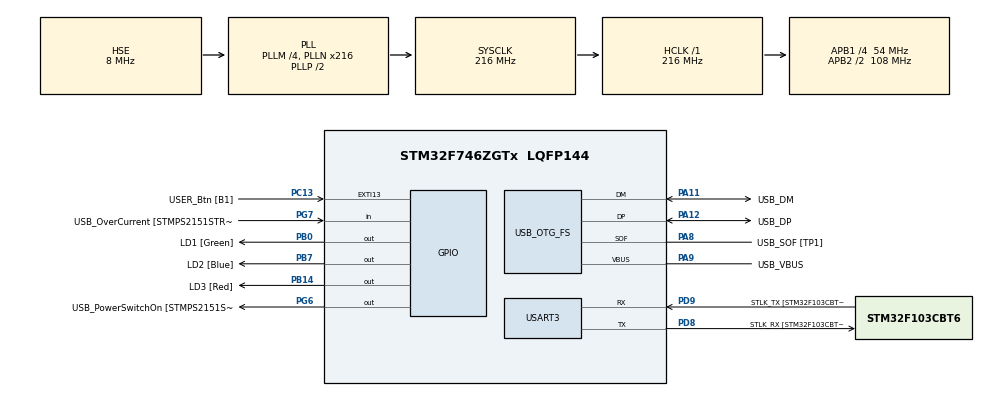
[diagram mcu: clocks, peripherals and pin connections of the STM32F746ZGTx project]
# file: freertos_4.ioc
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FREERTOS.Tasks01=defaultTask,24,128,StartDefaultTask,Default,NULL,Dynamic,NULL,NULL
Mcu.Family=STM32F7
Mcu.Name=STM32F746ZGTx
Mcu.Package=LQFP144
NVIC.PriorityGroup=NVIC_PRIORITYGROUP_4
NVIC.TIM1_UP_TIM10_IRQn=true\:0\:0\:false\:false\:true\:false\:false\:true
NVIC.TimeBase=TIM1_UP_TIM10_IRQn
NVIC.TimeBaseIP=TIM1
PA1.GPIO_Label=RMII_REF_CLK [LAN8742A-CZ-TR_REFCLK0]
PA1.Signal=ETH_REF_CLK
PA10.GPIO_Label=USB_ID
PA10.Signal=USB_OTG_FS_ID
PA11.GPIO_Label=USB_DM
PA11.Mode=Device_Only
PA11.Signal=USB_OTG_FS_DM
PA12.GPIO_Label=USB_DP
PA12.Mode=Device_Only
PA12.Signal=USB_OTG_FS_DP
PA13.GPIO_Label=TMS
PA13.Mode=Serial_Wire
PA13.Signal=SYS_JTMS-SWDIO
PA14.GPIO_Label=TCK
PA14.Mode=Serial_Wire
PA14.Signal=SYS_JTCK-SWCLK
PA2.GPIO_Label=RMII_MDIO [LAN8742A-CZ-TR_MDIO]
PA2.Signal=ETH_MDIO
PA7.GPIO_Label=RMII_CRS_DV [LAN8742A-CZ-TR_CRS_DV]
PA7.Signal=ETH_CRS_DV
PA8.GPIO_Label=USB_SOF [TP1]
PA8.Mode=Activate_SOF_FS
PA8.Signal=USB_OTG_FS_SOF
PA9.GPIO_Label=USB_VBUS
PA9.Mode=Activate_VBUS
PA9.Signal=USB_OTG_FS_VBUS
PB0.GPIO_Label=LD1 [Green]
PB0.Signal=GPIO_Output
PB13.GPIO_Label=RMII_TXD1 [LAN8742A-CZ-TR_TXD1]
PB13.Signal=ETH_TXD1
PB14.GPIO_Label=LD3 [Red]
PB14.Signal=GPIO_Output
PB3.GPIO_Label=SW0
PB3.Signal=SYS_JTDO-SWO
PB7.GPIO_Label=LD2 [Blue]
PB7.Signal=GPIO_Output
PC1.GPIO_Label=RMII_MDC [LAN8742A-CZ-TR_MDC]
PC1.Signal=ETH_MDC
PC13.GPIO_Label=USER_Btn [B1]
PC13.Signal=GPXTI13
PC14/OSC32_IN.Mode=LSE-External-Oscillator
PC14/OSC32_IN.Signal=RCC_OSC32_IN
PC15/OSC32_OUT.Mode=LSE-External-Oscillator
PC15/OSC32_OUT.Signal=RCC_OSC32_OUT
PC4.GPIO_Label=RMII_RXD0 [LAN8742A-CZ-TR_RXD0]
PC4.Signal=ETH_RXD0
PC5.GPIO_Label=RMII_RXD1 [LAN8742A-CZ-TR_RXD1]
PC5.Signal=ETH_RXD1
PD8.GPIO_Label=STLK_RX [STM32F103CBT6_PA3]
PD8.Mode=Asynchronous
PD8.Signal=USART3_TX
PD9.GPIO_Label=STLK_TX [STM32F103CBT6_PA2]
PD9.Mode=Asynchronous
PD9.Signal=USART3_RX
PG11.GPIO_Label=RMII_TX_EN [LAN8742A-CZ-TR_TXEN]
PG11.Signal=ETH_TX_EN
PG13.GPIO_Label=RMII_TXD0 [LAN8742A-CZ-TR_TXD0]
PG13.Signal=ETH_TXD0
PG6.GPIO_Label=USB_PowerSwitchOn [STMPS2151STR_EN]
PG6.Signal=GPIO_Output
PG7.GPIO_Label=USB_OverCurrent [STMPS2151STR_FAULT]
PG7.Signal=GPIO_Input
PH0/OSC_IN.GPIO_Label=MCO [STM32F103CBT6_PA8]
PH0/OSC_IN.Mode=HSE-External-Clock-Source
PH0/OSC_IN.Signal=RCC_OSC_IN
PH1/OSC_OUT.Mode=HSE-External-Clock-Source
PH1/OSC_OUT.Signal=RCC_OSC_OUT
ProjectManager.HeapSize=0x200
ProjectManager.StackSize=0x400
ProjectManager.TargetToolchain=STM32CubeIDE
RCC.48MHZClocksFreq_Value=24000000
RCC.AHBFreq_Value=216000000
RCC.APB1CLKDivider=RCC_HCLK_DIV4
RCC.APB1Freq_Value=54000000
RCC.APB1TimFreq_Value=108000000
RCC.APB2CLKDivider=RCC_HCLK_DIV2
RCC.APB2Freq_Value=108000000
RCC.APB2TimFreq_Value=216000000
RCC.CortexFreq_Value=216000000
RCC.HCLKFreq_Value=216000000
RCC.HSE_VALUE=8000000
RCC.HSI_VALUE=16000000
RCC.PLLM=4
RCC.PLLMUL=RCC_PLL_MUL9
RCC.PLLN=216
RCC.PLLQ=9
RCC.PRESCALERUSB=RCC_USBCLKSOURCE_PLL_DIV1_5
RCC.SYSCLKFreq_VALUE=216000000
RCC.SYSCLKSource=RCC_SYSCLKSOURCE_PLLCLK
RCC.SYSCLKSourceVirtual=RCC_SYSCLKSOURCE_PLLCLK
RCC.USBFreq_Value=48000000
RCC.VCOOutputFreq_Value=432000000
USART3.VirtualMode-Asynchronous=VM_ASYNC
USB_OTG_FS.VirtualMode=Device_Only
VP_FREERTOS_VS_CMSIS_V2.Mode=CMSIS_V2
VP_SYS_VS_tim1.Mode=TIM1
board=NUCLEO-F746ZG

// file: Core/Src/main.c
/* USER CODE BEGIN Header */
/**
  ******************************************************************************
  * @file           : main.c
  * @brief          : Main program body
  ******************************************************************************
  * @attention
  *
  * <h2><center>&copy; Copyright (c) 2021 STMicroelectronics.
  * All rights reserved.</center></h2>
  *
  * This software component is licensed by ST under Ultimate Liberty license
  * SLA0044, the "License"; You may not use this file except in compliance with
  * the License. You may obtain a copy of the License at:
  *                             www.st.com/SLA0044
  *
  ******************************************************************************
  */
/* USER CODE END Header */
#include "main.h"
#include "cmsis_os.h"

/* USER CODE BEGIN Includes */
#include "queue.h"
/* USER CODE END Includes */

UART_HandleTypeDef huart3;

PCD_HandleTypeDef hpcd_USB_OTG_FS;

/* Definitions for defaultTask */
osThreadId_t defaultTaskHandle;
const osThreadAttr_t defaultTask_attributes = {
  .name = "defaultTask",
  .stack_size = 128 * 4,
  .priority = (osPriority_t) osPriorityNormal,
};

void SystemClock_Config(void);
static void MX_GPIO_Init(void);
static void MX_USART3_UART_Init(void);
static void MX_USB_OTG_FS_PCD_Init(void);
void StartDefaultTask(void *argument);
void vModifyTask(void *pvParameters);
void vCheckTask(void *pvParameters);
void vReceiverTask(void *pvParameters);
void vSenderTask(void *pvParameters);

/* USER CODE BEGIN 0 */
/* Номера функций-передатчиков сообщений */
#define mainSENDER_1 1
#define mainSENDER_2 2
/* Объявить переменную-дескриптор очереди. Эта переменная
* будет использоваться для ссылки на очередь после ее создания. */
xQueueHandle xQueue;
/* Определить структуру, которая будет элементом очереди */
typedef struct
{
unsigned char ucValue;
unsigned char ucSource;
} xData;
/* Определить массив из двух структур, которые будут
* записываться в очередь */
static const xData xStructsToSend[ 2 ] =
{
{ 100, mainSENDER_1 }, /* Используется задачей-передатчиком 1 */
{ 200, mainSENDER_2 } /* Используется задачей-передатчиком 2 */
};
/* USER CODE END 0 */

int main(void)
{

  /* MCU Configuration--------------------------------------------------------*/

  /* Reset of all peripherals, Initializes the Flash interface and the Systick. */
  HAL_Init();

  /* Configure the system clock */
  SystemClock_Config();

  /* Initialize all configured peripherals */
  MX_GPIO_Init();
  MX_USART3_UART_Init();
  MX_USB_OTG_FS_PCD_Init();

  /* Init scheduler */
  osKernelInitialize();

  /* Create the thread(s) */
  /* creation of defaultTask */
  defaultTaskHandle = osThreadNew(StartDefaultTask, NULL, &defaultTask_attributes);

  /* USER CODE BEGIN RTOS_THREADS */
  /* Создать очередь размером 3 элемента для хранения
  * структуры типа xData.
  * Размер элемента установлен равным размеру структуры xData.
  * Дескриптор созданной очереди сохранить в глобальной
  * переменной xQueue. */
  xQueue = xQueueCreate(3, sizeof(xData));
  /* Если очередь успешно создана (дескриптор не равен NULL) */
  if (xQueue != NULL) {
	  /* Создать 2 экземпляра задачи-передатчика. Параметр,
	  * передаваемый задаче при ее создании, указатель на структуру,
	  * которую экземпляр задачи-передатчика
	  * будет записывать в очередь.
	  * Задача-передатчик 1 будет постоянно записывать структуру
	  * xStructsToSend[ 0 ].
	  * Задача-передатчик 2 будет постоянно записывать структуру
	  * xStructsToSend[ 1 ].
	  * Обе задачи создаются с приоритетом 1.
	  */
	  xTaskCreate(vSenderTask, "Sender1", 1000, ( void * ) &(
	  xStructsToSend[ 0 ] ), 2, NULL);
	  xTaskCreate(vSenderTask, "Sender2", 1000, ( void * ) &(
	  xStructsToSend[ 1 ] ), 2, NULL);
	  /* Создать задачу-приемник, которая будет считывать числа
	  * из очереди.
	  * Приоритет = 2, то есть выше, чем у задач-передатчиков.
	  */
  	  xTaskCreate(vReceiverTask, "Receiver", 1000, NULL, 1, NULL);
	  /* USER CODE END RTOS_THREADS */

	  /* Start scheduler */
	  osKernelStart();
  }
  /* We should never get here as control is now taken by the scheduler */
  /* Infinite loop */
  while (1)
  {

  }
}

void SystemClock_Config(void)
{
  RCC_OscInitTypeDef RCC_OscInitStruct = {0};
  RCC_ClkInitTypeDef RCC_ClkInitStruct = {0};
  RCC_PeriphCLKInitTypeDef PeriphClkInitStruct = {0};

  /** Configure LSE Drive Capability
  */
  HAL_PWR_EnableBkUpAccess();
  /** Configure the main internal regulator output voltage
  */
  __HAL_RCC_PWR_CLK_ENABLE();
  __HAL_PWR_VOLTAGESCALING_CONFIG(PWR_REGULATOR_VOLTAGE_SCALE1);
  /** Initializes the RCC Oscillators according to the specified parameters
  * in the RCC_OscInitTypeDef structure.
  */
  RCC_OscInitStruct.OscillatorType = RCC_OSCILLATORTYPE_HSE;
  RCC_OscInitStruct.HSEState = RCC_HSE_BYPASS;
  RCC_OscInitStruct.PLL.PLLState = RCC_PLL_ON;
  RCC_OscInitStruct.PLL.PLLSource = RCC_PLLSOURCE_HSE;
  RCC_OscInitStruct.PLL.PLLM = 4;
  RCC_OscInitStruct.PLL.PLLN = 216;
  RCC_OscInitStruct.PLL.PLLP = RCC_PLLP_DIV2;
  RCC_OscInitStruct.PLL.PLLQ = 9;
  if (HAL_RCC_OscConfig(&RCC_OscInitStruct) != HAL_OK)
  {
    Error_Handler();
  }
  /** Activate the Over-Drive mode
  */
  if (HAL_PWREx_EnableOverDrive() != HAL_OK)
  {
    Error_Handler();
  }
  /** Initializes the CPU, AHB and APB buses clocks
  */
  RCC_ClkInitStruct.ClockType = RCC_CLOCKTYPE_HCLK|RCC_CLOCKTYPE_SYSCLK
                              |RCC_CLOCKTYPE_PCLK1|RCC_CLOCKTYPE_PCLK2;
  RCC_ClkInitStruct.SYSCLKSource = RCC_SYSCLKSOURCE_PLLCLK;
  RCC_ClkInitStruct.AHBCLKDivider = RCC_SYSCLK_DIV1;
  RCC_ClkInitStruct.APB1CLKDivider = RCC_HCLK_DIV4;
  RCC_ClkInitStruct.APB2CLKDivider = RCC_HCLK_DIV2;

  if (HAL_RCC_ClockConfig(&RCC_ClkInitStruct, FLASH_LATENCY_7) != HAL_OK)
  {
    Error_Handler();
  }
  PeriphClkInitStruct.PeriphClockSelection = RCC_PERIPHCLK_USART3|RCC_PERIPHCLK_CLK48;
  PeriphClkInitStruct.Usart3ClockSelection = RCC_USART3CLKSOURCE_PCLK1;
  PeriphClkInitStruct.Clk48ClockSelection = RCC_CLK48SOURCE_PLL;
  if (HAL_RCCEx_PeriphCLKConfig(&PeriphClkInitStruct) != HAL_OK)
  {
    Error_Handler();
  }
}

static void MX_USART3_UART_Init(void)
{

  huart3.Instance = USART3;
  huart3.Init.BaudRate = 115200;
  huart3.Init.WordLength = UART_WORDLENGTH_8B;
  huart3.Init.StopBits = UART_STOPBITS_1;
  huart3.Init.Parity = UART_PARITY_NONE;
  huart3.Init.Mode = UART_MODE_TX_RX;
  huart3.Init.HwFlowCtl = UART_HWCONTROL_NONE;
  huart3.Init.OverSampling = UART_OVERSAMPLING_16;
  huart3.Init.OneBitSampling = UART_ONE_BIT_SAMPLE_DISABLE;
  huart3.AdvancedInit.AdvFeatureInit = UART_ADVFEATURE_NO_INIT;
  if (HAL_UART_Init(&huart3) != HAL_OK)
  {
    Error_Handler();
  }

}

static void MX_USB_OTG_FS_PCD_Init(void)
{

  hpcd_USB_OTG_FS.Instance = USB_OTG_FS;
  hpcd_USB_OTG_FS.Init.dev_endpoints = 6;
  hpcd_USB_OTG_FS.Init.speed = PCD_SPEED_FULL;
  hpcd_USB_OTG_FS.Init.dma_enable = DISABLE;
  hpcd_USB_OTG_FS.Init.phy_itface = PCD_PHY_EMBEDDED;
  hpcd_USB_OTG_FS.Init.Sof_enable = ENABLE;
  hpcd_USB_OTG_FS.Init.low_power_enable = DISABLE;
  hpcd_USB_OTG_FS.Init.lpm_enable = DISABLE;
  hpcd_USB_OTG_FS.Init.vbus_sensing_enable = ENABLE;
  hpcd_USB_OTG_FS.Init.use_dedicated_ep1 = DISABLE;
  if (HAL_PCD_Init(&hpcd_USB_OTG_FS) != HAL_OK)
  {
    Error_Handler();
  }

}

static void MX_GPIO_Init(void)
{
  GPIO_InitTypeDef GPIO_InitStruct = {0};

  /* GPIO Ports Clock Enable */
  __HAL_RCC_GPIOC_CLK_ENABLE();
  __HAL_RCC_GPIOH_CLK_ENABLE();
  __HAL_RCC_GPIOA_CLK_ENABLE();
  __HAL_RCC_GPIOB_CLK_ENABLE();
  __HAL_RCC_GPIOD_CLK_ENABLE();
  __HAL_RCC_GPIOG_CLK_ENABLE();

  /*Configure GPIO pin Output Level */
  HAL_GPIO_WritePin(GPIOB, LD1_Pin|LD3_Pin|LD2_Pin, GPIO_PIN_RESET);

  /*Configure GPIO pin Output Level */
  HAL_GPIO_WritePin(USB_PowerSwitchOn_GPIO_Port, USB_PowerSwitchOn_Pin, GPIO_PIN_RESET);

  /*Configure GPIO pin : USER_Btn_Pin */
  GPIO_InitStruct.Pin = USER_Btn_Pin;
  GPIO_InitStruct.Mode = GPIO_MODE_IT_RISING;
  GPIO_InitStruct.Pull = GPIO_NOPULL;
  HAL_GPIO_Init(USER_Btn_GPIO_Port, &GPIO_InitStruct);

  /*Configure GPIO pins : RMII_MDC_Pin RMII_RXD0_Pin RMII_RXD1_Pin */
  GPIO_InitStruct.Pin = RMII_MDC_Pin|RMII_RXD0_Pin|RMII_RXD1_Pin;
  GPIO_InitStruct.Mode = GPIO_MODE_AF_PP;
  GPIO_InitStruct.Pull = GPIO_NOPULL;
  GPIO_InitStruct.Speed = GPIO_SPEED_FREQ_VERY_HIGH;
  GPIO_InitStruct.Alternate = GPIO_AF11_ETH;
  HAL_GPIO_Init(GPIOC, &GPIO_InitStruct);

  /*Configure GPIO pins : RMII_REF_CLK_Pin RMII_MDIO_Pin RMII_CRS_DV_Pin */
  GPIO_InitStruct.Pin = RMII_REF_CLK_Pin|RMII_MDIO_Pin|RMII_CRS_DV_Pin;
  GPIO_InitStruct.Mode = GPIO_MODE_AF_PP;
  GPIO_InitStruct.Pull = GPIO_NOPULL;
  GPIO_InitStruct.Speed = GPIO_SPEED_FREQ_VERY_HIGH;
  GPIO_InitStruct.Alternate = GPIO_AF11_ETH;
  HAL_GPIO_Init(GPIOA, &GPIO_InitStruct);

  /*Configure GPIO pins : LD1_Pin LD3_Pin LD2_Pin */
  GPIO_InitStruct.Pin = LD1_Pin|LD3_Pin|LD2_Pin;
  GPIO_InitStruct.Mode = GPIO_MODE_OUTPUT_PP;
  GPIO_InitStruct.Pull = GPIO_NOPULL;
  GPIO_InitStruct.Speed = GPIO_SPEED_FREQ_LOW;
  HAL_GPIO_Init(GPIOB, &GPIO_InitStruct);

  /*Configure GPIO pin : RMII_TXD1_Pin */
  GPIO_InitStruct.Pin = RMII_TXD1_Pin;
  GPIO_InitStruct.Mode = GPIO_MODE_AF_PP;
  GPIO_InitStruct.Pull = GPIO_NOPULL;
  GPIO_InitStruct.Speed = GPIO_SPEED_FREQ_VERY_HIGH;
  GPIO_InitStruct.Alternate = GPIO_AF11_ETH;
  HAL_GPIO_Init(RMII_TXD1_GPIO_Port, &GPIO_InitStruct);

  /*Configure GPIO pin : USB_PowerSwitchOn_Pin */
  GPIO_InitStruct.Pin = USB_PowerSwitchOn_Pin;
  GPIO_InitStruct.Mode = GPIO_MODE_OUTPUT_PP;
  GPIO_InitStruct.Pull = GPIO_NOPULL;
  GPIO_InitStruct.Speed = GPIO_SPEED_FREQ_LOW;
  HAL_GPIO_Init(USB_PowerSwitchOn_GPIO_Port, &GPIO_InitStruct);

  /*Configure GPIO pin : USB_OverCurrent_Pin */
  GPIO_InitStruct.Pin = USB_OverCurrent_Pin;
  GPIO_InitStruct.Mode = GPIO_MODE_INPUT;
  GPIO_InitStruct.Pull = GPIO_NOPULL;
  HAL_GPIO_Init(USB_OverCurrent_GPIO_Port, &GPIO_InitStruct);

  /*Configure GPIO pins : RMII_TX_EN_Pin RMII_TXD0_Pin */
  GPIO_InitStruct.Pin = RMII_TX_EN_Pin|RMII_TXD0_Pin;
  GPIO_InitStruct.Mode = GPIO_MODE_AF_PP;
  GPIO_InitStruct.Pull = GPIO_NOPULL;
  GPIO_InitStruct.Speed = GPIO_SPEED_FREQ_VERY_HIGH;
  GPIO_InitStruct.Alternate = GPIO_AF11_ETH;
  HAL_GPIO_Init(GPIOG, &GPIO_InitStruct);

}

/* USER CODE BEGIN 4 */
/*-----------------------------------------------------------*/
/* Функция, реализующая задачи-передатчики */
void vSenderTask(void *pvParameters) {
	/* Будет создано несколько экземпляров задачи. В качестве
	* параметра задаче будет передан указатель на структуру xData. */
	/* Переменная, которая будет хранить результат выполнения
	* xQueueSendToBack(): */
	portBASE_TYPE xStatus;
	/* Бесконечный цикл */
	for (;;) {
		/* Записать структуру в конец очереди.
		* 1-й параметр — дескриптор очереди, в которую будет
		* производиться запись, очередь создана до запуска
		* планировщика, и ее дескриптор сохранен в глобальной
		* переменной xQueue.
		* 2-й параметр — указатель на структуру, которая будет
		* записана в очередь, в данном случае указатель передается
		* при создании экземпляра задачи (pvParameters).
		* 3-й параметр — продолжительность тайм-аута, в течение
		* которого задача будет находиться в блокированном
		* состоянии, ожидая появления свободного места в очереди.
		* Макроопределение portTICK_RATE_MS используется для
		* преобразования времени 100 мс в количество системных
		* квантов. */
		xStatus = xQueueSendToBack(xQueue, pvParameters, 100 /
		portTICK_RATE_MS);
		if (xStatus != pdPASS) {
			/* Запись в очередь не произошла по причине того, что
			* очередь на протяжении тайм-аута оставалась заполненной.
			* Такая ситуация свидетельствует об ошибке, так как
			* очередь-приемник создаст свободное место в очереди,
			* как только обе задачи-передатчика перейдут
			* в блокированное состояние */
			printf("Could not send to the queue.\r\n");
		}
		/* Сделать принудительный вызов планировщика, позволив,
		* таким образом, выполняться другой задаче-передатчику.
		* Переключение на другую задачу произойдет быстрее, чем
		* окончится текущий квант времени. */
		taskYIELD();
	}
}
/*------------------------------------------------------------------------*/
/* Функция, реализующая задачу-приемник */
void vReceiverTask(void *pvParameters) {
	/* Структура, в которую будет копироваться прочитанная из
	* очереди структура */
	xData xReceivedStructure;
	/* Переменная, которая будет хранить результат выполнения
	* xQueueReceive() */
	portBASE_TYPE xStatus;
	/* Бесконечный цикл */
	for (;;) {
		/* Эта задача выполняется, только когда задачи-передатчики
		* находятся в блокированном состоянии, а за счет того, что
		* приоритет у них выше, блокироваться они могут, только
		* если очередь полна. Поэтому очередь в этот момент должна
		* быть полна. То есть текущее количество элементов
		* очереди должно быть равно ее размеру — 3. */
		if (uxQueueMessagesWaiting(xQueue) != 3) {
			printf("Queue should have been full!\r\n");
		}
		/* Прочитать структуру из начала очереди.
		* 1-й параметр — дескриптор очереди, из которой будет
		* происходить чтение, очередь создана до запуска
		* планировщика, и ее дескриптор сохранен в глобальной
		* переменной xQueue.
		* 2-й параметр — указатель на буфер, в который будет
		* скопирована структура из очереди. В данном случае —
		* указатель на структуру xReceivedStructure.
		* 3-й параметр — продолжительность тайм-аута. В данном
		* случае задана равной 0, что означает задача не будет
		* “ожидать”, если очередь пуста. Однако так как эта задача
		* получает управление, только если очередь полна, то чтение
		* элемента из нее будет всегда возможно.
		*/
		xStatus = xQueueReceive(xQueue, &xReceivedStructure, 0);
		if (xStatus == pdPASS) {
		/* Структура успешно принята, вывести на экран название
		* задачи, которая эту структуру поместила в очередь,
		* и значение абстрактного параметра */
			if (xReceivedStructure.ucSource == mainSENDER_1) {
				printf("From Sender 1 = %d\r\n", xReceivedStructure.ucValue);
			} else {
				printf("From Sender 2 = %d\r\n", xReceivedStructure.ucValue);
			}
		} else {
			/* Данные не были прочитаны из очереди.
			* При условии, что очередь должна быть полна, означает
			* аварийную ситуацию */
			printf("Could not receive from the queue.\r\n");
		}
	}
}

int _write(int file, char *ptr, int len)
{
	int DataIdx;
	for(DataIdx=0;DataIdx<len;DataIdx++)
	{
		ITM_SendChar(*ptr++);
	}
	return len;
}
/* USER CODE END 4 */

void StartDefaultTask(void *argument)
{
  for(;;)
  {
    osDelay(1);
  }
}

 /**
  * @brief  Period elapsed callback in non blocking mode
  * @note   This function is called  when TIM1 interrupt took place, inside
  * HAL_TIM_IRQHandler(). It makes a direct call to HAL_IncTick() to increment
  * a global variable "uwTick" used as application time base.
  * @param  htim : TIM handle
  * @retval None
  */
void HAL_TIM_PeriodElapsedCallback(TIM_HandleTypeDef *htim)
{
  if (htim->Instance == TIM1) {
    HAL_IncTick();
  }
}

void Error_Handler(void)
{
  __disable_irq();
  while (1)
  {
  }
}

/************************ (C) COPYRIGHT STMicroelectronics *****END OF FILE****/
